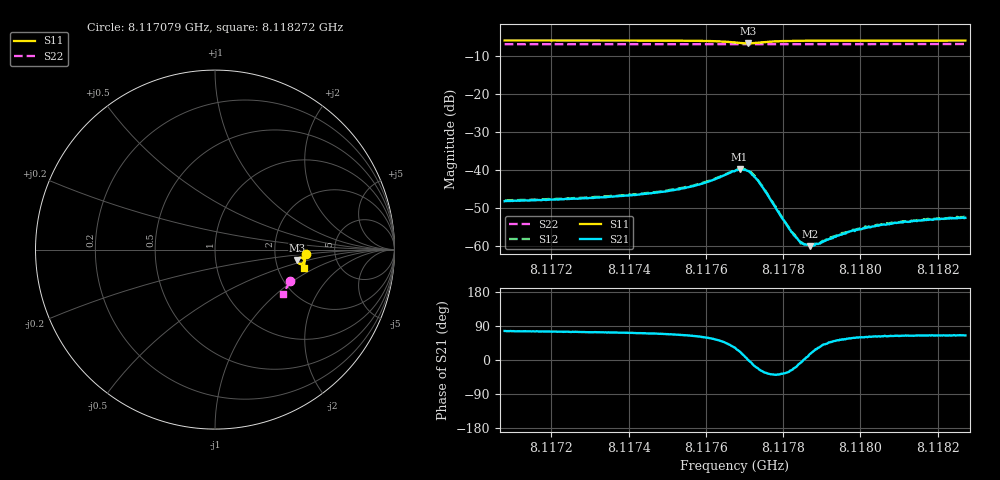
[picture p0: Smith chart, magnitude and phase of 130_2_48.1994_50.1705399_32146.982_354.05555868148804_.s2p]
#  HZ  S  RI  R  50.00
! Rohde & Schwarz Vector Network Analyzer
! Rohde-Schwarz,ZNB20-2Port,1311601062101988,3.16
! Created: UTC 3/20/2024, 11:41:52 AM
! freq[Hz]  re:S11  im:S11  re:S21  im:S21  re:S12  im:S12  re:S22  im:S22
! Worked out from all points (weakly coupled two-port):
!   401 points, 8.117079 GHz to 8.118272 GHz, reference 50 ohm
!   highest |S21| = -39.74 dB at 8.117687 GHz (marker M1); lowest = -60.0 dB at 8.117869 GHz (marker M2)
!   lowest |S11| = -6.7 dB at 8.117708 GHz (marker M3), VSWR 2.73, Z = 133 - j20.2 ohm
!   |S11| at or under -10 dB: nowhere
!   |S22| runs from -6.9 to -6.9 dB; largest |S21 - S12| = 0.00041
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8.1170792e9  0.5054 -0.0232  0.000905 0.00378  0.00101 0.00385  0.4157 -0.1747
8.117279e9  0.5039 -0.0394  0.00117 0.00408  0.00124 0.00414  0.4107 -0.1877
8.1173922e9  0.5025 -0.0495  0.00142 0.00439  0.00151 0.00443  0.4075 -0.1951
8.1174787e9  0.5005 -0.058  0.00183 0.00476  0.00187 0.00485  0.4051 -0.2007
8.1175771e9  0.4953 -0.0699  0.00293 0.00562  0.00304 0.00569  0.4019 -0.2072
8.1176218e9  0.4891 -0.0765  0.00432 0.00614  0.00446 0.0062  0.4003 -0.2101
8.1176754e9  0.4694 -0.0786  0.0082 0.0052  0.00854 0.00512  0.398 -0.2132
8.1176874e9  0.4635 -0.0742  0.00952 0.00394  0.00962 0.0039  0.3975 -0.2135
8.1177082e9  0.4593 -0.0599  0.00974 0.000176  0.01 0.000139  0.3966 -0.214
8.1177231e9  0.4643 -0.0497  0.00818 -0.00198  0.00843 -0.00205  0.3966 -0.2145
8.117741e9  0.4747 -0.0446  0.00583 -0.00297  0.00592 -0.00305  0.3967 -0.2156
8.1178096e9  0.4949 -0.0554  0.00159 -0.00104  0.0016 -0.00103  0.3955 -0.2202
8.1178275e9  0.4964 -0.0588  0.0013 -0.000517  0.00134 -0.000556  0.3948 -0.2216
8.1178394e9  0.4971 -0.0609  0.00118 -0.000248  0.00121 -0.000268  0.3944 -0.2225
8.1178513e9  0.4975 -0.0628  0.00108 -2.44e-05  0.00108 -3.06e-05  0.3941 -0.2231
8.1178692e9  0.4981 -0.0653  0.000959 0.000273  0.001 0.000257  0.3935 -0.2245
8.1178752e9  0.4982 -0.0662  0.000972 0.000362  0.000955 0.000357  0.3934 -0.2247
8.1179735e9  0.4983 -0.0777  0.000851 0.0013  0.000863 0.00135  0.3903 -0.2311
8.1180182e9  0.4979 -0.0819  0.000871 0.00153  0.000888 0.00152  0.3886 -0.2338
8.1180749e9  0.4972 -0.0872  0.000875 0.00173  0.000921 0.00175  0.3867 -0.2373
8.1181732e9  0.4959 -0.0954  0.000951 0.00199  0.000957 0.00206  0.3833 -0.2434
8.1182716e9  0.4943 -0.1032  0.000997 0.00213  0.00105 0.00218  0.3797 -0.2494
